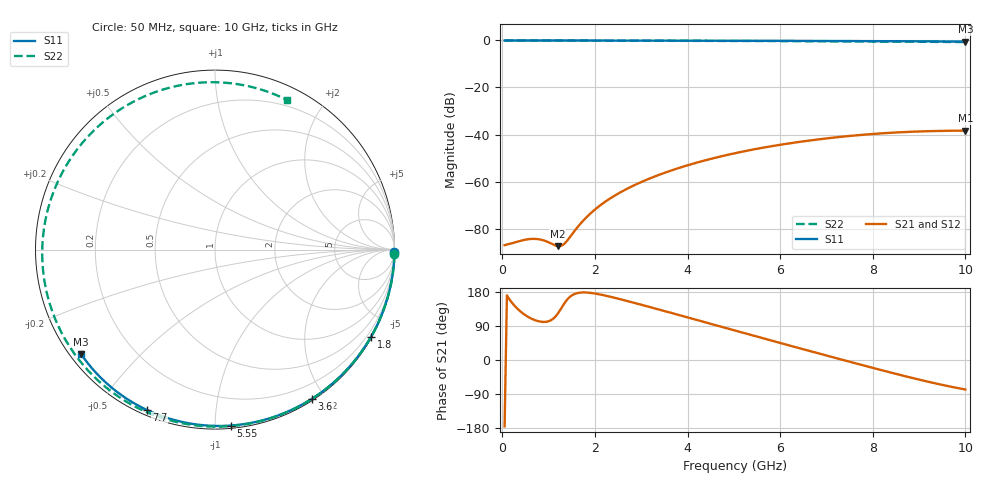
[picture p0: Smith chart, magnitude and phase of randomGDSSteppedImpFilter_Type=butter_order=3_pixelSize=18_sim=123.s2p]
! freq	dB(S11)	phase(S11)	dB(S12)	phase(S12)
!  dB(S21)	phase(S21)	dB(S22)	phase(S22)
!S-par simulation data
#  GHz  S  DB  R 50
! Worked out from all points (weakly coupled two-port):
!   200 points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, 50 MHz to 10 GHz, reference 50 ohm
!   highest |S21| = -38.34 dB at 10 GHz (marker M1); lowest = -87.5 dB at 1.2 GHz (marker M2)
!   lowest |S11| = -0.5 dB at 10 GHz (marker M3), VSWR 36.37, Z = 1.54 - j17.2 ohm
!   |S11| at or under -10 dB: nowhere
!   |S22| runs from -0.7 to 0.0 dB; largest |S21 - S12| = 0
!   S11 on the Smith chart (normalised r, x): 50 MHz: open; 1.8 GHz: 0.03, -3.84; 3.6 GHz: 0.02, -1.85; 5.55 GHz: 0.02, -1.10; 7.7 GHz: 0.02, -0.66; 10 GHz: 0.03, -0.34
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0.05  -0.00 -0.8  -87.04 -175.0  -87.04 -175.0  -0.00 -1.5
0.6  -0.01 -9.8  -84.42 110.9  -84.42 110.9  -0.02 -17.7
1.2  -0.02 -19.6  -87.46 122.5  -87.46 122.5  -0.04 -35.0
1.6  -0.03 -26.0  -79.99 175.9  -79.99 175.9  -0.06 -46.3
1.75  -0.04 -28.4  -76.54 178.3  -76.54 178.3  -0.06 -50.5
1.8  -0.04 -29.2  -75.51 178.2  -75.51 178.2  -0.07 -51.9
2.1  -0.04 -33.9  -70.32 173.2  -70.32 173.2  -0.08 -60.3
2.45  -0.05 -39.4  -65.71 163.4  -65.71 163.4  -0.09 -69.8
3.4  -0.07 -53.9  -57.02 132.6  -57.02 132.6  -0.12 -95.1
3.6  -0.08 -56.9  -55.61 125.9  -55.61 125.9  -0.13 -100.3
4.3  -0.10 -67.2  -51.39 102.3  -51.39 102.3  -0.16 -118.3
5.05  -0.12 -77.9  -47.83 76.9  -47.83 76.9  -0.21 -137.4
5.55  -0.14 -84.8  -45.88 60.1  -45.88 60.1  -0.24 -150.3
6.15  -0.17 -92.9  -43.89 40.0  -43.89 40.0  -0.29 -166.1
6.7  -0.19 -100.2  -42.37 21.7  -42.37 21.7  -0.34 178.8
7.2  -0.22 -106.7  -41.21 5.2  -41.21 5.2  -0.38 164.4
7.7  -0.26 -113.1  -40.24 -11.1  -40.24 -11.1  -0.43 149.1
8.35  -0.31 -121.3  -39.30 -31.9  -39.30 -31.9  -0.50 127.7
8.8  -0.35 -127.0  -38.84 -45.8  -38.84 -45.8  -0.55 111.6
9.2  -0.39 -131.9  -38.57 -57.5  -38.57 -57.5  -0.59 96.6
9.6  -0.43 -136.9  -38.41 -68.3  -38.41 -68.3  -0.63 80.8
10  -0.48 -141.9  -38.34 -77.9  -38.34 -77.9  -0.68 64.4
